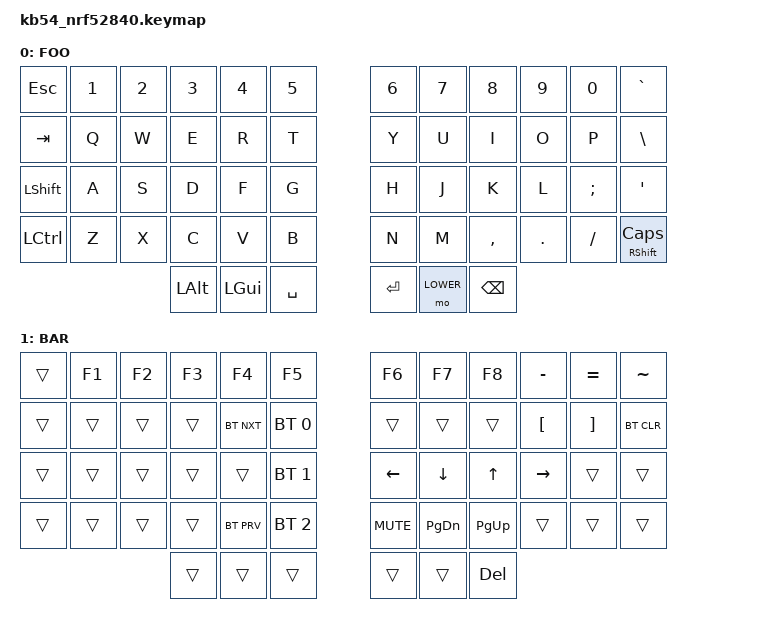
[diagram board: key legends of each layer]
/*
 * Copyright (c) 2020 The ZMK Contributors
 *
 * SPDX-License-Identifier: MIT
 */

#include <behaviors.dtsi>
#include <dt-bindings/zmk/keys.h>
#include <dt-bindings/zmk/bt.h>

#define DEFAULT 0
#define LOWER   1

/ {
    keymap {
        compatible = "zmk,keymap";
        default_layer {
            display-name = "FOO";
            label = "FOO";
// -----------------------------------------------------------------------------------------
// | ESC  |  1  |  2  |  3  |  4  |  5  |   |  6  |  7  |  8   |  9  |  0  |  `   |
// | TAB  |  Q  |  W  |  E  |  R  |  T  |   |  Y  |  U  |  I   |  O  |  P  | BSPC |
// | SHFT |  A  |  S  |  D  |  F  |  G  |   |  H  |  J  |  K   |  L  |  ;  |  '   |
// | CTRL |  Z  |  X  |  C  |  V  |  B  |   |  N  |  M  |  ,   |  .  |  /  | S(C) |
//                    | ALT | GUI | SPC |   | ENT |  MO | BSPC |
            bindings = <
   &kp ESC   &kp N1 &kp N2 &kp N3   &kp N4   &kp N5      &kp N6  &kp N7     &kp N8    &kp N9  &kp N0   &kp GRAVE
   &kp TAB   &kp Q  &kp W  &kp E    &kp R    &kp T       &kp Y   &kp U      &kp I     &kp O   &kp P    &kp BSLH
   &kp LSHFT &kp A  &kp S  &kp D    &kp F    &kp G       &kp H   &kp J      &kp K     &kp L   &kp SEMI &kp SQT
   &kp LCTRL &kp Z  &kp X  &kp C    &kp V    &kp B       &kp N   &kp M      &kp COMMA &kp DOT &kp FSLH &mt RSHFT CAPS
                           &kp LALT &kp LGUI &kp SPACE   &kp RET &mo LOWER  &kp BSPC
            >;
        };

        lower_layer {
            display-name = "BAR";
            label = "BAR";
// -----------------------------------------------------------------------------------------
// |   | F1  | F2 | F3 | F4   | F5   |   | F6  | F7  | F8   |  -  |  =  | ~    |
// |   |     |    |    | BT_N | BT_0 |   |     |     |      |  [  |  ]  | BCLR |
// |   |     |    |    |      | BT_1 |   | LFT | DWN |  UP  | RGT |     |      |
// |   |     |    |    | BT_P | BT_2 |   | MUT | PGWN| PGUP |     |     |      |
//                |    |      |      |   |     |     | DEL  |
            bindings = <
   &trans  &kp F1 &kp F2 &kp F3 &kp F4     &kp F5        &kp F6     &kp F7    &kp F8    &kp MINUS &kp EQUAL &kp TILDE
   &trans  &trans &trans &trans &bt BT_NXT &bt BT_SEL 0  &trans     &trans    &trans    &kp LBKT  &kp RBKT  &bt BT_CLR
   &trans  &trans &trans &trans &trans     &bt BT_SEL 1  &kp LEFT   &kp DOWN  &kp UP    &kp RIGHT &trans    &trans
   &trans  &trans &trans &trans &bt BT_PRV &bt BT_SEL 2  &kp K_MUTE &kp PG_DN &kp PG_UP &trans    &trans    &trans
                         &trans &trans     &trans        &trans     &trans    &kp DEL
            >;
        };
    };
};
